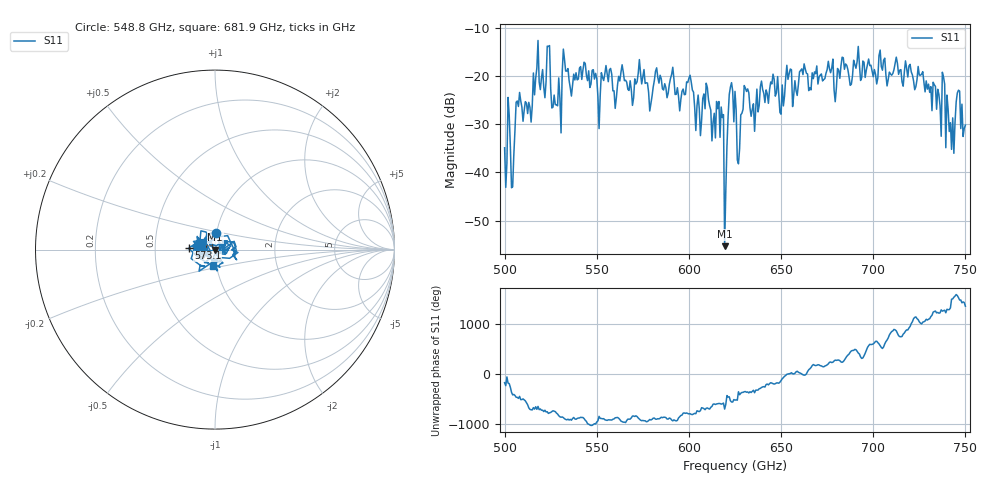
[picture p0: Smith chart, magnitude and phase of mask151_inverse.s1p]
!Created with skrf (http://scikit-rf.org).
# GHz S MA R 50.0
!freq magS11 angS11
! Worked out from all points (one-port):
!   401 points, 500 GHz to 750 GHz, reference 50 ohm
!   lowest |S11| = -55.3 dB at 619.4 GHz (marker M1), VSWR 1.00, Z = 50.2 + j0.0545 ohm
!   |S11| at or under -10 dB: start of sweep to end of sweep
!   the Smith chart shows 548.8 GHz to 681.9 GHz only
!   S11 on the Smith chart (normalised r, x): 548.8 GHz: 1.00, +0.19; 573.1 GHz: 0.74, +0.01; 681.9 GHz: 0.96, -0.18
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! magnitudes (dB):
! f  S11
! 500 GHz  -34.9
! 504.4 GHz  -43.0
! 507.5 GHz  -26.3
! 513.8 GHz  -26.5
! 516.9 GHz  -20.4
! 523.8 GHz  -13.9
! 526.9 GHz  -24.0
! 531.2 GHz  -19.3
! 548.8 GHz  -20.6
! 562.5 GHz  -21.0
! 573.1 GHz  -16.6
! 593.8 GHz  -22.4
! 616.2 GHz  -25.3
! 619.4 GHz  -55.3
! 620.6 GHz  -34.6
! 622.5 GHz  -22.3
! 625 GHz  -23.2
! 627.5 GHz  -35.1
! 631.2 GHz  -23.2
! 635 GHz  -25.8
! 656.2 GHz  -26.4
! 681.9 GHz  -20.5
! 687.5 GHz  -21.9
! 718.8 GHz  -20.2
! 738.8 GHz  -21.7
! 742.5 GHz  -35.2
! 745.6 GHz  -23.5
! 750 GHz  -30.2
